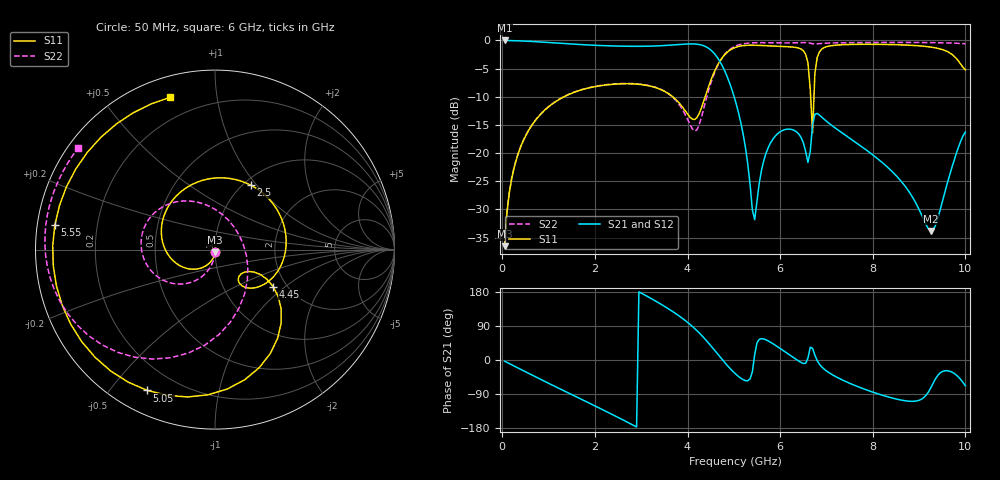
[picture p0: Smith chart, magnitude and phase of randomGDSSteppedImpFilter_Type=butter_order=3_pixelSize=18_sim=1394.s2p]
! freq	dB(S11)	phase(S11)	dB(S12)	phase(S12)
!  dB(S21)	phase(S21)	dB(S22)	phase(S22)
!S-par simulation data
#  GHz  S  DB  R 50
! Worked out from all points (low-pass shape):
!   200 points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, 50 MHz to 10 GHz, reference 50 ohm
!   highest |S21| = -0.02 dB at 50 MHz (marker M1); lowest = -33.8 dB at 9.25 GHz (marker M2)
!   |S21| within 3 dB of the highest: start of sweep to 4.642 GHz
!   lowest |S11| = -36.5 dB at 50 MHz (marker M3), VSWR 1.03, Z = 50 - j1.49 ohm
!   |S11| at or under -10 dB: start of sweep to 1.334 GHz; 3.679 GHz to 4.382 GHz (702.8 MHz wide, 17.4 % of centre); 6.659 GHz to 6.73 GHz (71.84 MHz wide, 1.07 % of centre)
!   |S22| runs from -36.5 to -0.4 dB; largest |S21 - S12| = 0
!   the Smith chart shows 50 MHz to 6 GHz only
!   S11 on the Smith chart (normalised r, x): 50 MHz: 1.00, -0.03; 2.5 GHz: 1.08, +0.93; 4.45 GHz: 1.71, -0.82; 5.05 GHz: 0.10, -0.62; 5.55 GHz: 0.05, +0.08; 6 GHz: 0.10, +0.74
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0.05  -36.52 -89.8  -0.02 -3.2  -0.02 -3.2  -36.47 -87.9
0.2  -24.66 -105.6  -0.04 -12.5  -0.04 -12.5  -24.61 -98.0
0.5  -17.01 -130.8  -0.14 -31.0  -0.14 -31.0  -16.96 -111.8
1.75  -8.68 126.2  -0.77 -106.2  -0.77 -106.2  -8.65 -159.7
2.5  -7.73 60.9  -1.02 -151.5  -1.02 -151.5  -7.68 175.4
3.4  -8.65 -19.1  -0.96 149.2  -0.96 149.2  -8.62 138.7
4.05  -13.59 -51.8  -0.63 94.3  -0.63 94.3  -14.87 65.7
4.45  -8.32 -32.4  -1.38 45.3  -1.38 45.3  -9.01 -68.0
4.7  -3.67 -61.9  -3.76 8.2  -3.76 8.2  -3.73 -112.2
5.05  -1.20 -115.7  -11.24 -38.2  -11.24 -38.2  -0.97 -156.4
5.45  -0.86 -174.3  -31.81 14.1  -31.81 14.1  -0.42 171.5
5.55  -0.89 171.4  -25.27 54.6  -25.27 54.6  -0.41 165.4
6  -1.07 106.4  -16.22 30.5  -16.22 30.5  -0.45 143.3
6.5  -1.83 27.1  -18.15 -9.2  -18.15 -9.2  -0.40 123.1
6.65  -8.67 -18.3  -19.70 33.8  -19.70 33.8  -0.48 116.6
6.7  -16.44 65.2  -14.98 30.8  -14.98 30.8  -0.60 114.9
6.8  -3.05 51.6  -12.96 -1.6  -12.96 -1.6  -0.61 112.5
7.15  -0.89 -4.2  -15.31 -40.6  -15.31 -40.6  -0.45 100.4
8.35  -0.73 -89.0  -22.74 -98.0  -22.74 -98.0  -0.36 58.2
9.25  -1.19 -143.6  -33.82 -74.0  -33.82 -74.0  -0.40 26.5
9.7  -2.43 165.7  -22.78 -31.4  -22.78 -31.4  -0.47 10.4
10  -5.23 71.3  -16.28 -68.1  -16.28 -68.1  -0.60 0.1
